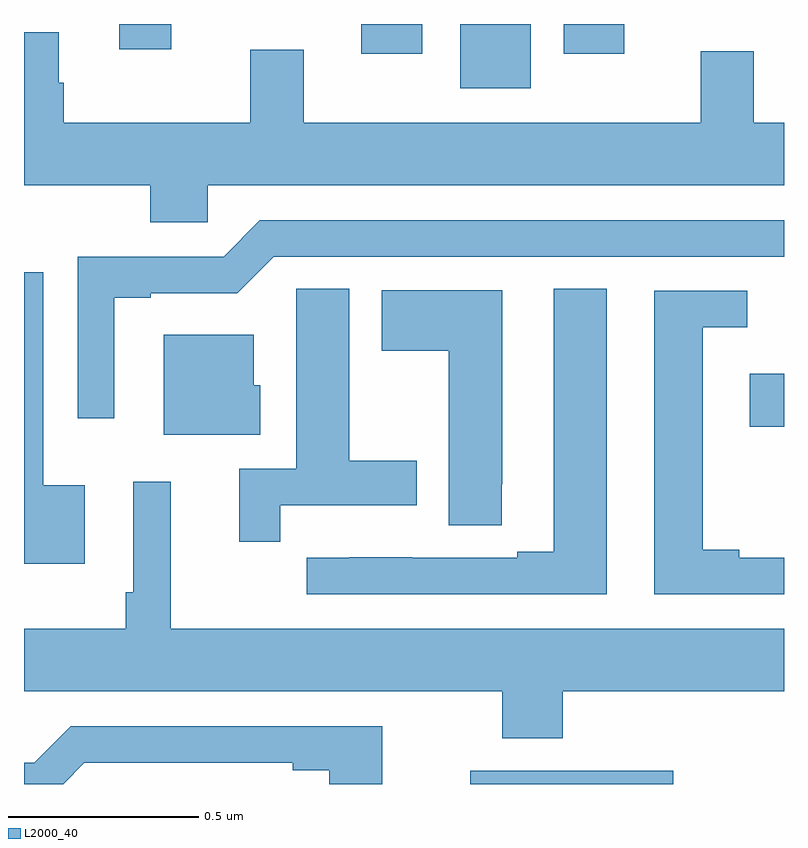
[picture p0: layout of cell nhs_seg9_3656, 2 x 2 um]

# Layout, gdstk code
import gdstk
lib = gdstk.Library(unit=1e-6, precision=1e-09)
def R(c, l, rs):  # rectangles x0, y0, x1, y1
    for r in rs: c.add(gdstk.rectangle(r[:2], r[2:], *l))
def P(c, l, *ps):  # polygons
    for p in ps: c.add(gdstk.Polygon(p, *l))
L2000_40 = (2000, 40)

nhs_seg9_3656 = lib.new_cell('nhs_seg9_3656')
R(nhs_seg9_3656, L2000_40, [(157.174,1205.5,157.708,1205.535), (157.91,1206.44,158,1206.58), (157.148,1207.331,157.333,1207.5), (156.887,1207.422,157.048,1207.5), (157.421,1207.422,157.579,1207.5), (156.251,1207.434,156.387,1207.5)])
P(nhs_seg9_3656, L2000_40, [(156.483,1207.076),(158,1207.076),(158,1207.24),(157.921,1207.24),(157.921,1207.428),(157.781,1207.428),(157.781,1207.24),(156.736,1207.24),(156.736,1207.432),(156.596,1207.432),(156.596,1207.24),(156.104,1207.24),(156.104,1207.346),(156.091,1207.346),(156.091,1207.478),(156,1207.478),(156,1207.076),(156.332,1207.076),(156.332,1206.978),(156.483,1206.978)],
  [(156.238,1206.78),(156.334,1206.78),(156.334,1206.792),(156.561,1206.792),(156.657,1206.888),(158,1206.888),(158,1206.984),(156.621,1206.984),(156.525,1206.888),(156.141,1206.888),(156.141,1206.462),(156.238,1206.462)],
  [(156.16,1206.286),(156.051,1206.286),(156.051,1206.847),(156,1206.847),(156,1206.08),(156.16,1206.08)],
  [(156.674,1206.234),(157.033,1206.234),(157.033,1206.351),(156.856,1206.351),(156.856,1206.803),(156.717,1206.803),(156.717,1206.692),(156.716,1206.692),(156.716,1206.33),(156.566,1206.33),(156.566,1206.138),(156.674,1206.138)],
  [(157.534,1206.803),(157.394,1206.803),(157.394,1206.111),(157.298,1206.111),(157.298,1206.096),(157.022,1206.096),(157.022,1206.097),(156.856,1206.097),(156.856,1206.096),(156.744,1206.096),(156.744,1206),(157.534,1206)],
  [(157.257,1206.289),(157.258,1206.289),(157.258,1206.799),(156.941,1206.799),(156.941,1206.64),(157.118,1206.64),(157.118,1206.181),(157.257,1206.181)],
  [(158,1206.096),(157.882,1206.096),(157.882,1206.116),(157.786,1206.116),(157.786,1206.702),(157.903,1206.702),(157.903,1206.798),(157.658,1206.798),(157.658,1206),(158,1206)],
  [(156.622,1206.549),(156.604,1206.549),(156.604,1206.682),(156.368,1206.682),(156.368,1206.419),(156.622,1206.419)],
  [(157.418,1205.744),(158,1205.744),(158,1205.908),(156.386,1205.908),(156.386,1206.295),(156.288,1206.295),(156.288,1206.004),(156.268,1206.004),(156.268,1205.908),(156,1205.908),(156,1205.744),(157.258,1205.744),(157.258,1205.62),(157.418,1205.62)],
  [(156.159,1205.556),(156.707,1205.556),(156.707,1205.536),(156.803,1205.536),(156.803,1205.5),(156.943,1205.5),(156.943,1205.652),(156.123,1205.652),(156.027,1205.556),(156,1205.556),(156,1205.5),(156.103,1205.5)])

lib.write_gds('nhs_seg9_3656.gds')
